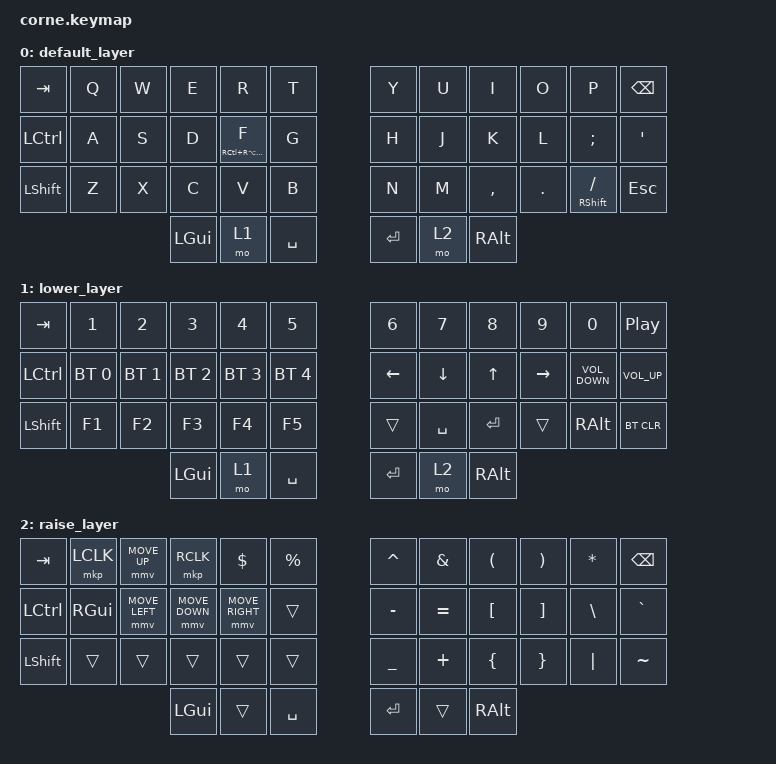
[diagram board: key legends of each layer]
/*
 * Copyright (c) 2021 The ZMK Contributors
 *
 * SPDX-License-Identifier: MIT
 */

#include <behaviors.dtsi>
#include <dt-bindings/zmk/keys.h>
#include <dt-bindings/zmk/bt.h>
#include <dt-bindings/zmk/pointing.h>
CONFIG_ZMK_POINTING=y


/ {
        keymap {
                compatible = "zmk,keymap";

                default_layer {
// -----------------------------------------------------------------------------------------
// |  TAB |  Q  |  W  |  E  |  R  |  T  |   |  Y  |  U   |  I  |  O  |  P  | BKSP |
// | CTRL |  A  |  S  |  D  |  F|HYPER  |  G  |   |  H  |  J   |  K  |  L  |  ;  |  '   |
// | SHFT |  Z  |  X  |  C  |  V  |  B  |   |  N  |  M   |  ,  |  .  |  /  | ESC|SHFT  |
//                    | GUI | LWR | SPC |   | ENT | RSE  | ALT |
                        bindings = <
   &kp TAB   &kp Q &kp W &kp E &kp R &kp T   &kp Y &kp U  &kp I     &kp O   &kp P    &kp BSPC
   &kp LCTRL &kp A &kp S &kp D &mt RC(RA(LCMD)) F &kp G   &kp H &kp J  &kp K &kp L   &kp SEMI &kp SQT
   &kp LSHFT &kp Z &kp X &kp C &kp V &kp B   &kp N &kp M  &kp COMMA &kp DOT &mt RSHIFT FSLH &kp ESC
                  &kp LGUI &mo 1 &kp SPACE   &kp RET &mo 2 &kp RALT
                        >;
                };
                lower_layer {
// -----------------------------------------------------------------------------------------
// | TAB    |   1        |    2       |   3       |   4           |   5     |        |   6   |   7     |  8   |   9     |     0           |    PLAY/PAUSE  |
// | CTRL   |   F1       |    F2      |   F3      |   F4          |   F5    |        |  LFT  |   DWN   |  UP  |   RGT   |     VOL_UP      |    VOL_DW      |
// | SHFT   |   BT1      |    BTl2    |   BT3     |   BT4         |   BT5   |        |  F6   |   F7    |  F8  |   F9    |     F10         |    ESC|SHIFT   |
//                       | GUI        |           | SPACE         |                  | ENTER |         |  ALT |
                         bindings = <
   &kp TAB   &kp N1       &kp N2       &kp N3        &kp N4         &kp N5           &kp N6   &kp N7    &kp N8  &kp N9    &kp N0            &kp C_PLAY_PAUSE
   &kp LCTRL &bt BT_SEL 0 &bt BT_SEL 1 &bt BT_SEL 2  &bt BT_SEL 3   &bt BT_SEL 4     &kp LEFT &kp DOWN  &kp UP  &kp RIGHT &kp C_VOLUME_DOWN &kp C_VOLUME_UP
   &kp LSHFT &kp F1       &kp F2       &kp F3        &kp F4         &kp F5           &trans   &kp SPACE &kp RET &trans    &kp RALT          &bt BT_CLR
                                       &kp LGUI      &mo 1          &kp SPACE        &kp RET  &mo 2     &kp RALT
                        >;
                };

                raise_layer {
// -----------------------------------------------------------------------------------------
// |  TAB |  !  |  @  |  #  |  $  |  %  |   |  ^  |  &  |  *  |  (  |  )  | BKSP |
// | CTRL |     |     |     |     |     |   |  -  |  =  |  [  |  ]  |  \  |  `   |
// | SHFT |     |     |     |     |     |   |  _  |  +  |  {  |  }  | "|" |  ~   |
//                    | GUI |     | SPC |   | ENT |     | ALT |
                        bindings = <
   &kp  TAB  &mkp LCLK &mmv MOVE_UP &mkp RCLK &kp DLLR &kp PRCNT   &kp CARET &kp AMPS  &kp LPAR &kp RPAR  &kp ASTRK &kp BSPC
   &kp LCTRL &kp RGUI &mmv MOVE_LEFT   &mmv MOVE_DOWN &mmv MOVE_RIGHT   &trans      &kp MINUS &kp EQUAL &kp LBKT  &kp RBKT &kp BSLH &kp GRAVE
   &kp LSHFT &trans   &trans &trans   &trans   &trans      &kp UNDER &kp PLUS  &kp LBRC  &kp RBRC &kp PIPE &kp TILDE
                             &kp LGUI &trans   &kp SPACE   &kp RET   &trans    &kp RALT
                        >;
                };
        };
};

&mt {
    tapping-term-ms = <400>;
};
&lt {
    tapping-term-ms = <400>;
};
